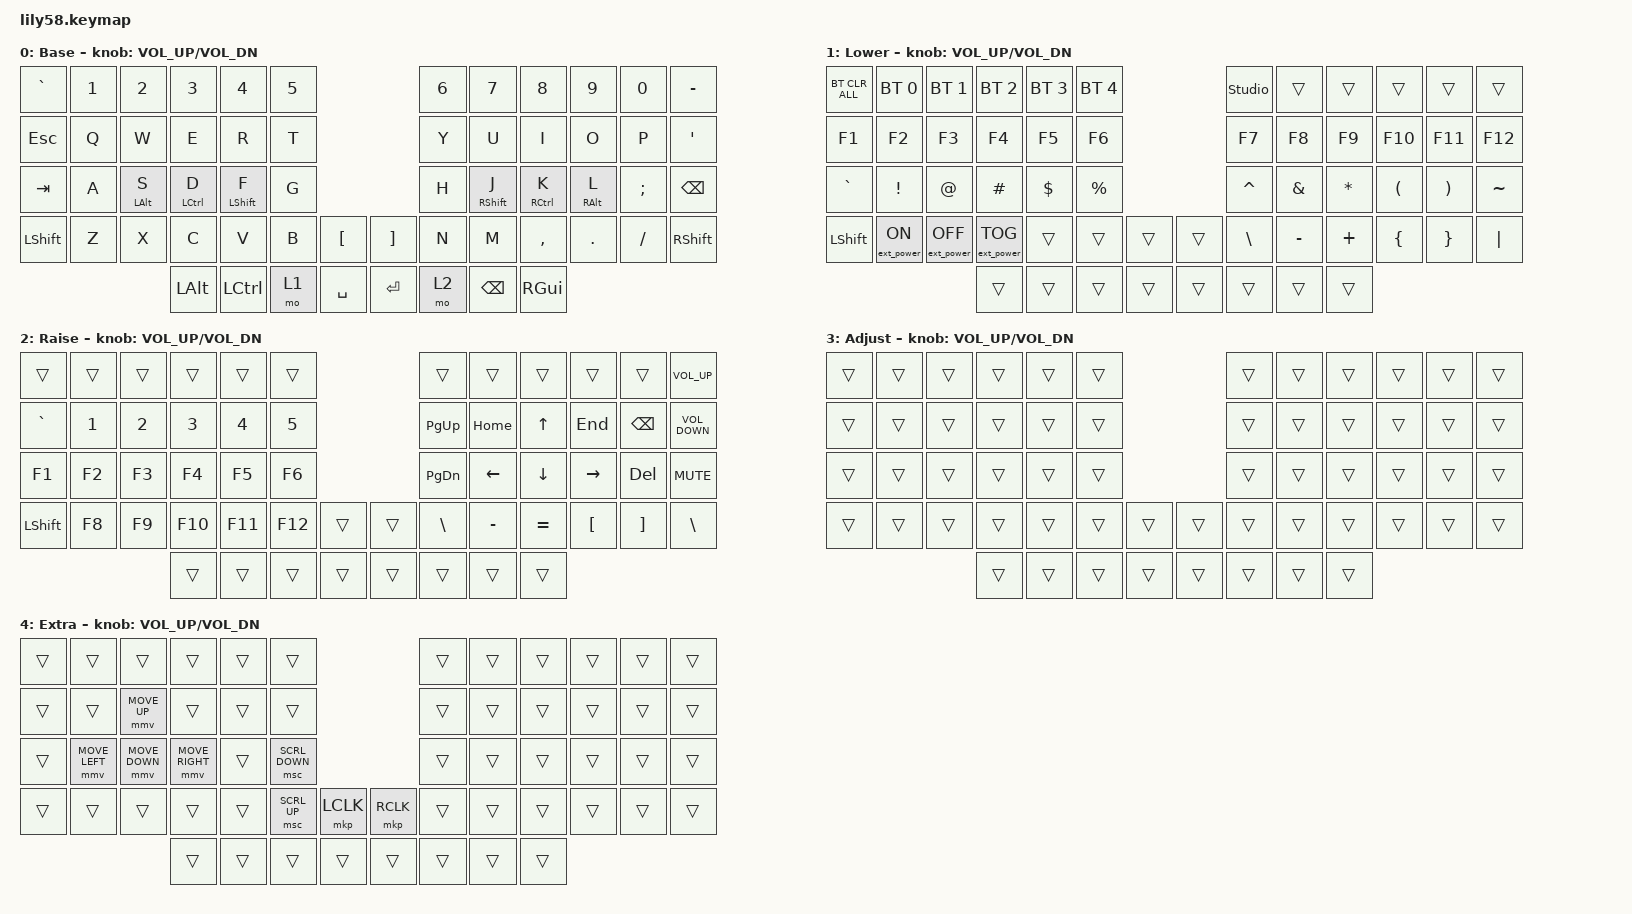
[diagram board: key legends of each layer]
/*
 * Copyright (c) 2020 The ZMK Contributors
 *
 * SPDX-License-Identifier: MIT
 */

#include <behaviors.dtsi>
#include <dt-bindings/zmk/bt.h>
#include <dt-bindings/zmk/ext_power.h>
#include <dt-bindings/zmk/keys.h>
#include <dt-bindings/zmk/pointing.h>

#define default_layer 0
#define lower_layer 1
#define raise_layer 2
#define adjust_layer 3
#define extra_layer 4

/ {
    behaviors {
        hmr: hmr {
            compatible = "zmk,behavior-hold-tap";
            label = "HMR";
            bindings = <&kp>, <&kp>;

            #binding-cells = <2>;
            tapping-term-ms = <280>;
            quick-tap-ms = <175>;
            flavor = "balanced";
            hold-trigger-on-release;
            hold-trigger-key-positions = <0 1 2 3 4 5 12 13 14 15 16 17 24 25 26 27 28 29 36 37 38 39 40 41 42 50 51 52 53 54 55 56 57>;
        };

        hml: hml {
            compatible = "zmk,behavior-hold-tap";
            label = "HML";
            bindings = <&kp>, <&kp>;

            #binding-cells = <2>;
            tapping-term-ms = <280>;
            quick-tap-ms = <175>;
            flavor = "balanced";
            hold-trigger-on-release;
            hold-trigger-key-positions = <6 7 8 9 10 11 18 19 20 21 22 23 30 31 32 33 34 35 43 44 45 46 47 48 49 54 55 56 57 53 52 51 50>;
        };
    };

    keymap {
        compatible = "zmk,keymap";

        default_layer {
            display-name = "Base";

            // ------------------------------------------------------------------------------------------------------------
            // |  ESC  |  1  |  2  |  3   |  4   |  5   |                   |  6   |  7    |  8    |  9   |   0   |   `   |
            // |  TAB  |  Q  |  W  |  E   |  R   |  T   |                   |  Y   |  U    |  I    |  O   |   P   |   -   |
            // |  CTRL |  A  |  S  |  D   |  F   |  G   |                   |  H   |  J    |  K    |  L   |   ;   |   '   |
            // | SHIFT |  Z  |  X  |  C   |  V   |  B   |   "["  |  |  "]"  |  N   |  M    |  ,    |  .   |   /   | SHIFT |
            //                     | ALT  | GUI  | LOWER|  SPACE |  | ENTER | RAISE| BSPC  | GUI   |

            bindings = <
&kp GRAVE  &kp N1  &kp N2           &kp N3        &kp N4            &kp N5                         &kp N6  &kp N7         &kp N8        &kp N9            &kp N0    &kp MINUS
&kp ESC    &kp Q   &kp W            &kp E         &kp R             &kp T                          &kp Y   &kp U          &kp I         &kp O             &kp P     &kp APOS
&kp TAB    &kp A   &hml LEFT_ALT S  &hml LCTRL D  &hml LSHIFT F     &kp G                          &kp H   &hmr RSHIFT J  &hmr RCTRL K  &hmr RIGHT_ALT L  &kp SEMI  &kp BACKSPACE
&kp LSHFT  &kp Z   &kp X            &kp C         &kp V             &kp B   &kp LBKT     &kp RBKT  &kp N   &kp M          &kp COMMA     &kp DOT           &kp FSLH  &kp RSHFT
                                    &kp LALT      &kp LEFT_CONTROL  &mo 1   &kp SPACE    &kp RET   &mo 2   &kp BSPC       &kp RGUI
            >;

            sensor-bindings = <&inc_dec_kp C_VOL_UP C_VOL_DN>;
        };

        lower_layer {
            display-name = "Lower";

            // ------------------------------------------------------------------------------------------------------------
            // | BTCLR | BT1 | BT2 |  BT3 |  BT4 |  BT5 |                   |      |       |       |      |       |       |
            // |  F1   |  F2 |  F3 |  F4  |  F5  |  F6  |                   |  F7  |  F8   |  F9   |  F10 |  F11  |  F12  |
            // |   `   |  !  |  @  |  #   |  $   |  %   |                   |  ^   |  &    |  *    |  (   |   )   |   ~   |
            // |       |     |     |      |      |      |        |  |       |      |  _    |  +    |  {   |   }   |  "|"  |
            //                     |      |      |      |        |  |       |      |       |       |

            bindings = <
&bt BT_CLR_ALL  &bt BT_SEL 0      &bt BT_SEL 1       &bt BT_SEL 2       &bt BT_SEL 3  &bt BT_SEL 4                    &studio_unlock  &trans     &trans     &trans    &trans    &trans
&kp F1          &kp F2            &kp F3             &kp F4             &kp F5        &kp F6                          &kp F7          &kp F8     &kp F9     &kp F10   &kp F11   &kp F12
&kp GRAVE       &kp EXCL          &kp AT             &kp HASH           &kp DOLLAR    &kp PRCNT                       &kp CARET       &kp AMPS   &kp ASTRK  &kp LPAR  &kp RPAR  &kp TILDE
&kp LSHIFT      &ext_power EP_ON  &ext_power EP_OFF  &ext_power EP_TOG  &trans        &trans        &trans    &trans  &kp BACKSLASH   &kp MINUS  &kp PLUS   &kp LBRC  &kp RBRC  &kp PIPE
                                                     &trans             &trans        &trans        &trans    &trans  &trans          &trans     &trans
            >;

            sensor-bindings = <&inc_dec_kp C_VOL_UP C_VOL_DN>;
        };

        raise_layer {
            display-name = "Raise";

            // ------------------------------------------------------------------------------------------------------------
            // |       |     |     |      |      |      |                   |      |       |       |      |       |       |
            // |   `   |  1  |  2  |  3   |  4   |  5   |                   |  6   |   7   |   8   |  9   |   0   |       |
            // |   F1  |  F2 |  F3 |  F4  |  F5  |  F6  |                   |      |   <-  |   v   |  ^   |  ->   |       |
            // |   F7  |  F8 |  F9 |  F10 |  F11 |  F12 |        |  |       |  +   |   -   |   =   |  [   |   ]   |   \   |
            //                     |      |      |      |        |  |       |      |       |       |

            bindings = <
&trans     &trans  &trans  &trans   &trans   &trans                     &trans         &trans     &trans        &trans           &trans         &kp C_VOLUME_UP
&kp GRAVE  &kp N1  &kp N2  &kp N3   &kp N4   &kp N5                     &kp PAGE_UP    &kp HOME   &kp UP_ARROW  &kp END          &kp BACKSPACE  &kp C_VOLUME_DOWN
&kp F1     &kp F2  &kp F3  &kp F4   &kp F5   &kp F6                     &kp PAGE_DOWN  &kp LEFT   &kp DOWN      &kp RIGHT_ARROW  &kp DEL        &kp K_MUTE
&kp LSHFT  &kp F8  &kp F9  &kp F10  &kp F11  &kp F12  &trans    &trans  &kp BACKSLASH  &kp MINUS  &kp EQUAL     &kp LBKT         &kp RBKT       &kp BSLH
                           &trans   &trans   &trans   &trans    &trans  &trans         &trans     &trans
            >;

            sensor-bindings = <&inc_dec_kp C_VOL_UP C_VOL_DN>;
        };

        adjust_layer {
            display-name = "Adjust";

            // ------------------------------------------------------------------------------------------------------------
            // |       |     |     |      |      |      |                   |      |       |       |      |       |       |
            // |   `   |  1  |  2  |  3   |  4   |  5   |                   |  6   |   7   |   8   |  9   |   0   |       |
            // |   F1  |  F2 |  F3 |  F4  |  F5  |  F6  |                   |      |   <-  |   v   |  ^   |  ->   |       |
            // |   F7  |  F8 |  F9 |  F10 |  F11 |  F12 |        |  |       |  +   |   -   |   =   |  [   |   ]   |   \   |
            //                     |      |      |      |        |  |       |      |       |       |

            bindings = <
&trans  &trans  &trans  &trans  &trans  &trans                    &trans  &trans  &trans  &trans  &trans  &trans
&trans  &trans  &trans  &trans  &trans  &trans                    &trans  &trans  &trans  &trans  &trans  &trans
&trans  &trans  &trans  &trans  &trans  &trans                    &trans  &trans  &trans  &trans  &trans  &trans
&trans  &trans  &trans  &trans  &trans  &trans  &trans    &trans  &trans  &trans  &trans  &trans  &trans  &trans
                        &trans  &trans  &trans  &trans    &trans  &trans  &trans  &trans
            >;

            sensor-bindings = <&inc_dec_kp C_VOL_UP C_VOL_DN>;
        };

        extra_layer {
            display-name = "Extra";

            // ------------------------------------------------------------------------------------------------------------
            // |       |     |     |      |      |      |                   |      |       |       |      |       |       |
            // |   `   |  1  |  2  |  3   |  4   |  5   |                   |  6   |   7   |   8   |  9   |   0   |       |
            // |   F1  |  F2 |  F3 |  F4  |  F5  |  F6  |                   |      |   <-  |   v   |  ^   |  ->   |       |
            // |   F7  |  F8 |  F9 |  F10 |  F11 |  F12 |        |  |       |  +   |   -   |   =   |  [   |   ]   |   \   |
            //                     |      |      |      |        |  |       |      |       |       |

            bindings = <
&trans  &trans          &trans          &trans           &trans  &trans                                  &trans  &trans  &trans  &trans  &trans  &trans
&trans  &trans          &mmv MOVE_UP    &trans           &trans  &trans                                  &trans  &trans  &trans  &trans  &trans  &trans
&trans  &mmv MOVE_LEFT  &mmv MOVE_DOWN  &mmv MOVE_RIGHT  &trans  &msc SCRL_DOWN                          &trans  &trans  &trans  &trans  &trans  &trans
&trans  &trans          &trans          &trans           &trans  &msc SCRL_UP    &mkp LCLK    &mkp RCLK  &trans  &trans  &trans  &trans  &trans  &trans
                                        &trans           &trans  &trans          &trans       &trans     &trans  &trans  &trans
            >;

            sensor-bindings = <&inc_dec_kp C_VOL_UP C_VOL_DN>;
        };
    };
};
